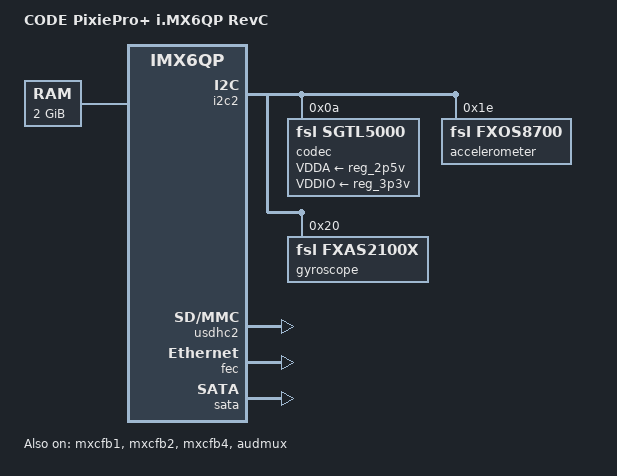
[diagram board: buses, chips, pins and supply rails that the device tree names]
/*
 * Copyright 2012 Freescale Semiconductor, Inc.
 * Copyright 2011 Linaro Ltd.
 *
 * The code contained herein is licensed under the GNU General Public
 * License. You may obtain a copy of the GNU General Public License
 * Version 2 or later at the following locations:
 *
 * http://www.opensource.org/licenses/gpl-license.html
 * http://www.gnu.org/copyleft/gpl.html
 */

/dts-v1/;

#include "imx6qp.dtsi"
#include "imx6qdl-pixiepro.dtsi"


/ {
	model = "CODE PixiePro+ i.MX6QP RevC";
	compatible = "fsl,imx6qp-pixiepro", "fsl,imx6qp";

	memory: memory {
		reg = <0x10000000 0x80000000>;
	};

	sound-sgtl5000 {
		compatible = "fsl,imx6-pixieboard-sgtl5000",
			     "fsl,imx-audio-sgtl5000";
		model = "imx6-pixieboard-sgtl5000";
		ssi-controller = <&ssi1>;
		audio-codec = <&codec>;
		audio-routing =
			"MIC_IN", "Mic Jack",
			"Mic Jack", "Mic Bias",
			"Headphone Jack", "HP_OUT";
		mux-int-port = <1>;
		mux-ext-port = <4>;
	};

	mxcfb3: fb@2 {
		interface_pix_fmt = "RGB666";
		mode_str ="INNO-QWVGA";
	};

	lcd@0 {
		compatible = "fsl,lcd";
		ipu_id = <0>;
		disp_id = <0>;
		default_ifmt = "RGB666";
		pinctrl-names = "default";
		pinctrl-0 = <&pinctrl_ipu1>;
		status = "okay";
	};
};


&iomuxc {
	pinctrl-names = "default";

	imx6qdl-pixiepro-ext {

		pinctrl_ipu1: ipu1grp {
			fsl,pins = <
				MX6QDL_PAD_DI0_DISP_CLK__IPU1_DI0_DISP_CLK 0x10
				MX6QDL_PAD_DI0_PIN15__IPU1_DI0_PIN15       0x10
				MX6QDL_PAD_DI0_PIN2__IPU1_DI0_PIN02        0x10
				MX6QDL_PAD_DI0_PIN3__IPU1_DI0_PIN03        0x10
				MX6QDL_PAD_DI0_PIN4__IPU1_DI0_PIN04        0x80000000
				MX6QDL_PAD_DISP0_DAT0__IPU1_DISP0_DATA00   0x10
				MX6QDL_PAD_DISP0_DAT1__IPU1_DISP0_DATA01   0x10
				MX6QDL_PAD_DISP0_DAT2__IPU1_DISP0_DATA02   0x10
				MX6QDL_PAD_DISP0_DAT3__IPU1_DISP0_DATA03   0x10
				MX6QDL_PAD_DISP0_DAT4__IPU1_DISP0_DATA04   0x10
				MX6QDL_PAD_DISP0_DAT5__IPU1_DISP0_DATA05   0x10
				MX6QDL_PAD_DISP0_DAT6__IPU1_DISP0_DATA06   0x10
				MX6QDL_PAD_DISP0_DAT7__IPU1_DISP0_DATA07   0x10
				MX6QDL_PAD_DISP0_DAT8__IPU1_DISP0_DATA08   0x10
				MX6QDL_PAD_DISP0_DAT9__IPU1_DISP0_DATA09   0x10
				MX6QDL_PAD_DISP0_DAT10__IPU1_DISP0_DATA10  0x10
				MX6QDL_PAD_DISP0_DAT11__IPU1_DISP0_DATA11  0x10
				MX6QDL_PAD_DISP0_DAT12__IPU1_DISP0_DATA12  0x10
				MX6QDL_PAD_DISP0_DAT13__IPU1_DISP0_DATA13  0x10
				MX6QDL_PAD_DISP0_DAT14__IPU1_DISP0_DATA14  0x10
				MX6QDL_PAD_DISP0_DAT15__IPU1_DISP0_DATA15  0x10
				MX6QDL_PAD_DISP0_DAT16__IPU1_DISP0_DATA16  0x10
				MX6QDL_PAD_DISP0_DAT17__IPU1_DISP0_DATA17  0x10
			>;
		};
	};
};



&i2c2 {
		
	codec: sgtl5000@0a {
	compatible = "fsl,sgtl5000";
	reg = <0x0a>;
	clocks = <&clks 201>;
	VDDA-supply = <&reg_2p5v>;
	VDDIO-supply = <&reg_3p3v>;
	};

	accelerometer: fxos8700@1e {
	compatible = "fsl,fxos8700";
	reg = <0x1e>;
   };

   	gyroscope: fxas2100x@20 {
	compatible = "fsl,fxas2100x";
	reg = <0x20>;
   };

};

&ldb {
	lvds-channel@0 {
		crtc = "ipu2-di0";
	};

	lvds-channel@1 {
		crtc = "ipu2-di1";
	};
};

&mxcfb1 {
	prefetch;
	status = "okay";
};

&mxcfb2 {
	prefetch;
	status = "okay";
};

&mxcfb3 {
	prefetch;
	status = "okay";
};

&mxcfb4 {
	prefetch;
	status = "okay";
};

&audmux {
	status = "okay";
};


&usdhc2 {
	status = "okay";
};

&fec {
	status = "okay";
};

&sata {
	status = "okay";
};

